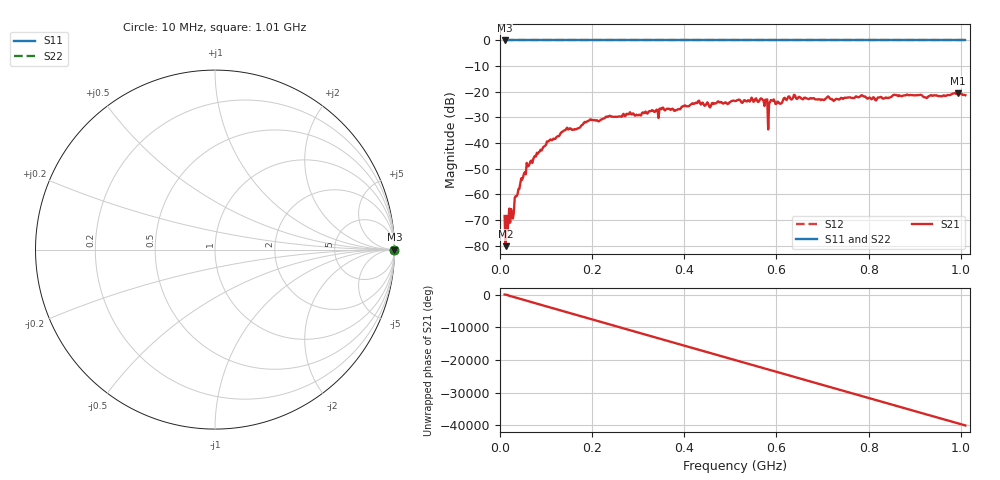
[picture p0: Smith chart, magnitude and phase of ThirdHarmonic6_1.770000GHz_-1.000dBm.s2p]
! 8/16/2025 9:23:03 PM
! C:\ANRITSUVNA\TEMP\TEMP.S2P
! CHANNEL.1
! TR.MEASUREMENT
! RAW.DATA
! RF.CORRECTION.OFF
! AVERAGING.OFF
! IF.BANDWIDTH: 5KHZ
! SWEEPTYPE:  FREQ.SWEEP(Linear)
! Reference Plane Port Info
! PORT:  PORT1  PORT2
! DISTANCE:  0  m  0  m
! TIME:  0  s  0  s
! PHASE.OFFSET:  0  deg.  0  deg.
! LOSS:  0  dB  0  dB
! REF.LOSS:  0  dB  0  dB
! REF.FREQ:  0  Hz  0  Hz
! Power Info
! POWER:  -20  dBm  -20  dBm
! EFF.POWER:  -20  dBm  -20  dBm
! SOURCE.ATTEN:  0  dB  0  dB
! TEST.ATTEN:  0  dB  0  dB
# GHZ S RI R 50.0
! FREQ.GHZ  S11RE  S11IM  S21RE  S21IM  S12RE  S12IM  S22RE  S22IM
!; PortSelection: Port_12
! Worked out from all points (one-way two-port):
!   501 points, 10 MHz to 1.01 GHz, reference 50 ohm
!   highest |S21| = -20.54 dB at 994 MHz (marker M1); lowest = -80.1 dB at 12 MHz (marker M2)
!   lowest |S11| = 0.0 dB at 10 MHz (marker M3)
!   |S11| at or under -10 dB: nowhere
!   |S22| runs from 0.0 to 0.0 dB; largest |S21 - S12| = 1.1
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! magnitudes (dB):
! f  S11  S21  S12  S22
! 10 MHz  0.0  -68.4  0.0  0.0
! 12 MHz  0.0  -80.1  0.0  0.0
! 26 MHz  0.0  -68.1  0.0  0.0
! 36 MHz  0.0  -60.7  0.0  0.0
! 62 MHz  0.0  -49.0  0.0  0.0
! 106 MHz  0.0  -39.2  0.0  0.0
! 142 MHz  0.0  -35.0  0.0  0.0
! 178 MHz  0.0  -32.9  0.0  0.0
! 234 MHz  0.0  -29.8  0.0  0.0
! 344 MHz  0.0  -30.2  0.0  0.0
! 428 MHz  0.0  -24.4  0.0  0.0
! 456 MHz  0.0  -26.1  0.0  0.0
! 510 MHz  0.0  -23.6  0.0  0.0
! 568 MHz  0.0  -22.7  0.0  0.0
! 576 MHz  0.0  -23.0  0.0  0.0
! 578 MHz  0.0  -23.1  0.0  0.0
! 586 MHz  0.0  -24.1  0.0  0.0
! 590 MHz  0.0  -23.3  0.0  0.0
! 678 MHz  0.0  -22.6  0.0  0.0
! 844 MHz  0.0  -22.3  0.0  0.0
! 994 MHz  0.0  -20.5  0.0  0.0
! 1.01 GHz  0.0  -21.3  0.0  0.0
